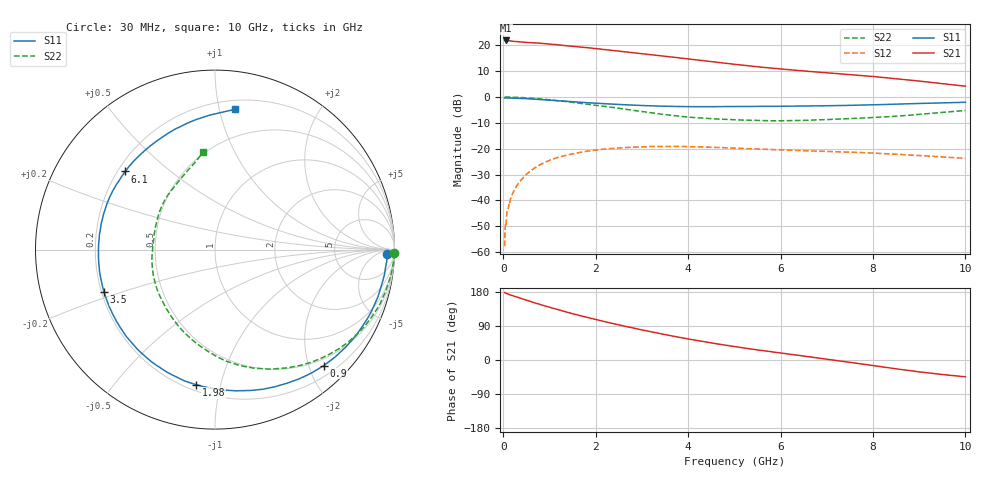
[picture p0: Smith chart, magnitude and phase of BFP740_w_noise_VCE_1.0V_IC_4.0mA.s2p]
! Infineon Technologies  Discrete & RF Semiconductors
! BFP740
! VCE =  1.0 V,  IC =  4.0 mA
! Common Emitter S-Parameters:  Jan 2016
# GHz  S  MA  R  50
!  f  S11  S21  S12  S22
! GHz  MAG  ANG  MAG  ANG  MAG  ANG  MAG  ANG
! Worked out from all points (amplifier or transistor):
!   229 points, 30 MHz to 10 GHz, reference 50 ohm
!   highest |S21| = 21.9 dB at 50 MHz (marker M1)
!   |S21| within 3 dB of that: start of sweep to 1.933 GHz
!   unconditionally stable (mu >= 1): 8.065 GHz to end of sweep
!   at 280 MHz: K = 0.07, MSG = 28.1 dB, |S12| = -34.8 dB
!   at 1.78 GHz: K = 0.22, MSG = 20.1 dB, |S12| = -21.1 dB
!   at 10 GHz: K = 1.26, MAG = 10.9 dB, |S12| = -23.7 dB
!   lowest NFmin = 0.45 dB at 450 MHz
!   S11 on the Smith chart (normalised r, x): 30 MHz: 33, -22; 900 MHz: 0.37, -2.25; 1.98 GHz: 0.24, -0.84; 3.5 GHz: 0.21, -0.18; 6.1 GHz: 0.23, +0.36; 10 GHz: 0.27, +1.12
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0.03  0.959 -1.6  12.39 177.9  0.0013 88.9  0.9978 -1.2
0.04  0.9596 -2.2  12.28 177.3  0.0027 89.6  0.9984 -1.6
0.05  0.9594 -2.7  12.4 177.0  0.0034 84.6  0.997 -2.1
0.13  0.9548 -7.1  12.27 172.6  0.0089 88.2  0.9945 -5.4
0.4  0.9373 -21.3  11.6 161.5  0.0255 76.1  0.9716 -16.0
0.68  0.9103 -35.7  11.12 150.9  0.0423 66.3  0.938 -26.7
0.9  0.8859 -46.9  10.8 142.8  0.0544 59.1  0.9029 -34.9
1.2  0.8457 -61.7  10.19 132.0  0.0684 49.7  0.8457 -45.8
1.7  0.787 -85.2  9.218 115.9  0.0863 36.2  0.7501 -62.2
1.98  0.7604 -97.8  8.689 107.5  0.0935 29.3  0.6969 -71.4
2.26  0.7356 -109.9  8.138 99.2  0.0992 22.5  0.6461 -80.2
2.6  0.7095 -124.1  7.544 89.9  0.1046 15.4  0.5867 -90.6
2.98  0.6852 -139.2  6.92 79.9  0.1084 7.8  0.5263 -102.4
3.4  0.6652 -155.4  6.294 69.4  0.1105 0.0  0.47 -116.2
3.5  0.6622 -159.0  6.151 67.1  0.1101 -1.6  0.4565 -119.6
4.2  0.6491 177.9  5.189 51.3  0.1086 -12.8  0.397 -142.6
5.1  0.654 155.7  4.198 33.7  0.1017 -23.6  0.3595 -167.5
6.1  0.6636 139.0  3.421 16.9  0.0942 -32.0  0.3475 169.8
6.8  0.6734 128.2  3.034 5.5  0.0898 -37.3  0.3592 155.0
8.4  0.7229 101.6  2.305 -21.5  0.0789 -47.9  0.4187 122.5
9  0.7491 92.5  2.033 -31.4  0.0738 -51.2  0.4611 110.2
10  0.7898 81.7  1.617 -44.3  0.0651 -52.5  0.5487 96.8
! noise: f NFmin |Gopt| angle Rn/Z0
0.45  0.45  0.46  11  0.27
0.9  0.45  0.46  18  0.26
1.5  0.49  0.45  27  0.25
1.9  0.53  0.43  43  0.24
2.4  0.55  0.43  48  0.23
3.5  0.67  0.39  70  0.21
5.5  0.9  0.28  159  0.19
10  1.62  0.57  -84  0.25
